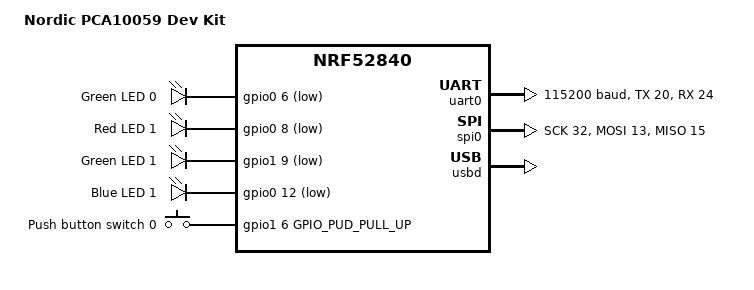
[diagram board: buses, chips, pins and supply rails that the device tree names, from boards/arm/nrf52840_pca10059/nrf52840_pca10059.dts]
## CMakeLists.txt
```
cmake_minimum_required(VERSION 3.8.2)
# Re-direct the directory where the 'boards' directory is found from
# $ZEPHYR_BASE to this directory.
set(BOARD_ROOT ${CMAKE_CURRENT_LIST_DIR})
set(BOARD nrf52840_pca10059)

macro(set_conf_file)
  if(EXISTS ${APPLICATION_SOURCE_DIR}/prj_${BOARD}.conf)
    set(CONF_FILE "${APPLICATION_SOURCE_DIR}/prj_${BOARD}.conf")
  elseif(EXISTS ${APPLICATION_SOURCE_DIR}/boards/${BOARD}.conf)
    set(CONF_FILE
      "prj.conf ${APPLICATION_SOURCE_DIR}/boards/${BOARD}.conf")
  else()
    set(CONF_FILE "prj.conf")
  endif()
endmacro()

include($ENV{ZEPHYR_BASE}/cmake/app/boilerplate.cmake NO_POLICY_SCOPE)
project(sockets_echo)

FILE(GLOB app_sources src/*.c)
target_sources(app PRIVATE ${app_sources})

include($ENV{ZEPHYR_BASE}/samples/net/common/common.cmake)

# Include External Rust Library
include(ExternalProject)

set(rust_prj echo)
set(rust_src_dir   ${CMAKE_CURRENT_SOURCE_DIR}/${rust_prj})
set(rust_build_dir ${CMAKE_CURRENT_BINARY_DIR}/${rust_prj})

ExternalProject_Add(
  rust_project                 # Name for custom target
  PREFIX     ${rust_build_dir} # Root dir for entire project
  SOURCE_DIR ${rust_src_dir}
  BINARY_DIR ${rust_src_dir}   # This particular build system is invoked from the root
  CONFIGURE_COMMAND ""         # Skip configuring the project, e.g. with autoconf
  BUILD_COMMAND make
  INSTALL_COMMAND ""      # This particular build system has no install command
  BUILD_BYPRODUCTS ${rust_src_dir}/lib/librust.a
)

add_library(rust_lib STATIC IMPORTED GLOBAL)
add_dependencies(
  rust_lib
  rust_project
)

set_target_properties(rust_lib PROPERTIES IMPORTED_LOCATION ${rust_src_dir}/lib/librust.a)
set_target_properties(rust_lib PROPERTIES INTERFACE_INCLUDE_DIRECTORIES ${rust_src_dir}/lib)

target_link_libraries(app PUBLIC rust_lib)
```

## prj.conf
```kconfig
# General config
CONFIG_NEWLIB_LIBC=y

# Networking config
CONFIG_NETWORKING=y
CONFIG_NET_IPV4=n
CONFIG_NET_IPV6=y
CONFIG_NET_TCP=y
CONFIG_NET_SOCKETS=y
CONFIG_NET_SOCKETS_POSIX_NAMES=y

# Network address config
CONFIG_NET_CONFIG_SETTINGS=y
CONFIG_NET_CONFIG_NEED_IPV4=n
CONFIG_NET_CONFIG_NEED_IPV6=y
CONFIG_NET_CONFIG_MY_IPV6_ADDR="2001:db8::1"
CONFIG_NET_CONFIG_PEER_IPV6_ADDR="2001:db8::2"

# Kernel options
CONFIG_TEST_RANDOM_GENERATOR=y
```

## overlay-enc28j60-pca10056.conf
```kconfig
# BOARD specific GPIO configurations
CONFIG_ETH_ENC28J60_0_GPIO_PORT_NAME="GPIO_1"
CONFIG_ETH_ENC28J60_0_GPIO_PIN=11

CONFIG_ETH_ENC28J60_0_GPIO_SPI_CS=y
CONFIG_ETH_ENC28J60_0_SPI_CS_PORT_NAME="GPIO_1"
CONFIG_ETH_ENC28J60_0_SPI_CS_PIN=12
```

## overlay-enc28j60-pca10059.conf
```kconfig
# Board specific GPIO configurations
CONFIG_ETH_ENC28J60_0_GPIO_PORT_NAME="GPIO_0"
CONFIG_ETH_ENC28J60_0_GPIO_PIN=22

CONFIG_ETH_ENC28J60_0_GPIO_SPI_CS=y
CONFIG_ETH_ENC28J60_0_SPI_CS_PORT_NAME="GPIO_0"
CONFIG_ETH_ENC28J60_0_SPI_CS_PIN=17
```

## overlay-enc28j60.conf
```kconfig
CONFIG_NET_L2_ETHERNET=y

# ENC28J60 Ethernet Device
CONFIG_ETH_ENC28J60=y
CONFIG_ETH_ENC28J60_0=y
CONFIG_ETH_ENC28J60_0_SPI_PORT_NAME="SPI_0"
CONFIG_ETH_ENC28J60_0_MAC3=0x2D
CONFIG_ETH_ENC28J60_0_MAC4=0x30
CONFIG_ETH_ENC28J60_0_MAC5=0x36
```

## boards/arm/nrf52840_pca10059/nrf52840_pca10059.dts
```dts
/*
 * Copyright (c) 2018 Nordic Semiconductor ASA
 * Copyright (c) 2017 Linaro Limited
 *
 * SPDX-License-Identifier: Apache-2.0
 */

/dts-v1/;
#include <nordic/nrf52840_qiaa.dtsi>

/ {
	model = "Nordic PCA10059 Dev Kit";
	compatible = "nordic,pca10059-dk", "nordic,nrf52840-qiaa",
		     "nordic,nrf52840";

	chosen {
		zephyr,console = &uart0;
		zephyr,uart-mcumgr = &uart0;
		zephyr,sram = &sram0;
		zephyr,flash = &flash0;
		zephyr,code-partition = &slot0_partition;
	};

	leds {
		compatible = "gpio-leds";
		led0_green: led_0 {
			gpios = <&gpio0 6 GPIO_INT_ACTIVE_LOW>;
			label = "Green LED 0";
		};
		led1_red: led_1 {
			gpios = <&gpio0 8 GPIO_INT_ACTIVE_LOW>;
			label = "Red LED 1";
		};
		led1_green: led_2 {
			gpios = <&gpio1 9 GPIO_INT_ACTIVE_LOW>;
			label = "Green LED 1";
		};
		led1_blue: led_3 {
			gpios = <&gpio0 12 GPIO_INT_ACTIVE_LOW>;
			label = "Blue LED 1";
		};
	};

	buttons {
		compatible = "gpio-keys";
		button0: button_0 {
			gpios = <&gpio1 6 GPIO_PUD_PULL_UP>;
			label = "Push button switch 0";
		};
	};

	/* These aliases are provided for compatibility with samples */
	aliases {
		sw0 = &button0;
		led0 = &led0_green;
		led1 = &led1_red;
		led2 = &led1_green;
		led3 = &led1_blue;
		led0-green = &led0_green;
		led1-red   = &led1_red;
		led1-green = &led1_green;
		led1-blue  = &led1_blue;
	};
};

&gpiote {
	status ="ok";
};

&gpio0 {
	status ="ok";
};

&gpio1 {
	status ="ok";
};

&uart0 {
	compatible = "nordic,nrf-uart";
	current-speed = <115200>;
	status = "ok";
	tx-pin = <20>;
	rx-pin = <24>;
};

/*
 * By default, not adding all available SPI instances (spi2, spi3) due to
 * limited GPIOs available on dongle board.
 */
&spi0 {
	status = "ok";
	sck-pin = <32>;
	mosi-pin = <13>;
	miso-pin = <15>;
};

&flash0 {
	/*
	 * For more information, see:
	 * http://docs.zephyrproject.org/latest/devices/dts/flash_partitions.html
	 */
	partitions {
		compatible = "fixed-partitions";
		#address-cells = <1>;
		#size-cells = <1>;

		boot_partition: partition@e0000 {
			label = "mcuboot";
			reg = <0x0000e0000 0x0001a000>;
		};
		slot0_partition: partition@1000 {
			label = "image-0";
			reg = <0x00001000 0x000060000>;
		};
		slot1_partition: partition@61000 {
			label = "image-1";
			reg = <0x0061000 0x000060000>;
		};
		scratch_partition: partition@c1000 {
			label = "image-scratch";
			reg = <0x000c1000 0x0001f000>;
		};
		storage_partition: partition@fa000 {
			label = "storage";
			reg = <0x000fa000 0x00004000>;
		};
	};
};

&usbd {
	compatible = "nordic,nrf-usbd";
	status = "ok";
};
```

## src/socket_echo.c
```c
/*
 * Copyright (c) 2017 Linaro Limited
 *
 * SPDX-License-Identifier: Apache-2.0
 */

#include <stdio.h>
#include <errno.h>
#include <bindings.h>

#ifndef __ZEPHYR__

#include <netinet/in.h>
#include <sys/socket.h>
#include <arpa/inet.h>
#include <unistd.h>

#else

#include <net/socket.h>
#include <kernel.h>
#include <net/net_app.h>

#endif

#define PORT 4242

FILE* stdout_as_ptr_mut() {
	return stdout;
}

int main(void)
{
	rust_main();
}
```
